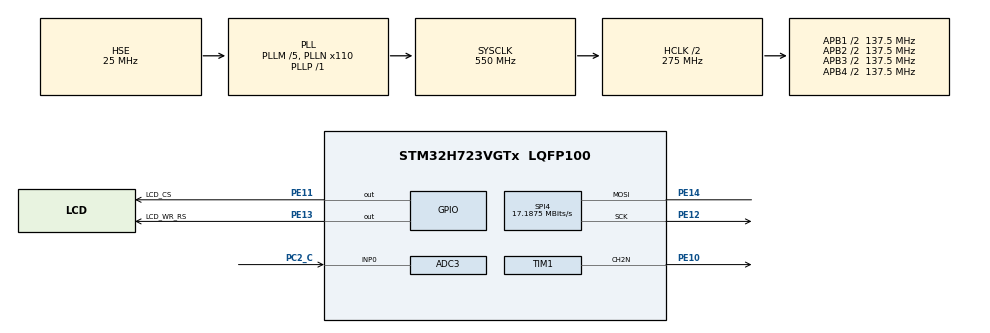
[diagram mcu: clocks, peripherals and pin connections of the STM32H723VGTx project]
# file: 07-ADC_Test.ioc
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ADC3.Channel-0\#ChannelRegularConversion=ADC_CHANNEL_0
ADC3.Channel-1\#ChannelRegularConversion=ADC_CHANNEL_VREFINT
ADC3.Channel-2\#ChannelRegularConversion=ADC_CHANNEL_TEMPSENSOR
ADC3.Channel-3\#ChannelRegularConversion=ADC_CHANNEL_VBAT
ADC3.DiscontinuousConvMode=ENABLE
ADC3.NbrOfConversion=4
ADC3.NbrOfConversionFlag=1
ADC3.OffsetNumber-0\#ChannelRegularConversion=ADC_OFFSET_NONE
ADC3.OffsetNumber-1\#ChannelRegularConversion=ADC_OFFSET_NONE
ADC3.OffsetNumber-2\#ChannelRegularConversion=ADC_OFFSET_NONE
ADC3.OffsetNumber-3\#ChannelRegularConversion=ADC_OFFSET_NONE
ADC3.OffsetSign-0\#ChannelRegularConversion=ADC3_OFFSET_SIGN_NEGATIVE
ADC3.OffsetSign-1\#ChannelRegularConversion=ADC3_OFFSET_SIGN_NEGATIVE
ADC3.OffsetSign-2\#ChannelRegularConversion=ADC3_OFFSET_SIGN_NEGATIVE
ADC3.OffsetSign-3\#ChannelRegularConversion=ADC3_OFFSET_SIGN_NEGATIVE
ADC3.Rank-0\#ChannelRegularConversion=1
ADC3.Rank-1\#ChannelRegularConversion=2
ADC3.Rank-2\#ChannelRegularConversion=3
ADC3.Rank-3\#ChannelRegularConversion=4
ADC3.SamplingTime-0\#ChannelRegularConversion=ADC3_SAMPLETIME_247CYCLES_5
ADC3.SamplingTime-1\#ChannelRegularConversion=ADC3_SAMPLETIME_247CYCLES_5
ADC3.SamplingTime-2\#ChannelRegularConversion=ADC3_SAMPLETIME_247CYCLES_5
ADC3.SamplingTime-3\#ChannelRegularConversion=ADC3_SAMPLETIME_247CYCLES_5
Mcu.Family=STM32H7
Mcu.Name=STM32H723VGTx
Mcu.Package=LQFP100
NVIC.PriorityGroup=NVIC_PRIORITYGROUP_4
PA13(JTMS/SWDIO).Mode=Serial_Wire
PA13(JTMS/SWDIO).Signal=DEBUG_JTMS-SWDIO
PA14(JTCK/SWCLK).Mode=Serial_Wire
PA14(JTCK/SWCLK).Signal=DEBUG_JTCK-SWCLK
PC14-OSC32_IN.Mode=LSE-External-Oscillator
PC14-OSC32_IN.Signal=RCC_OSC32_IN
PC15-OSC32_OUT.Mode=LSE-External-Oscillator
PC15-OSC32_OUT.Signal=RCC_OSC32_OUT
PC2_C.Mode=IN0-Single-Ended
PC2_C.Signal=ADC3_INP0
PE10.Mode=PWM Generation2 CH2N
PE10.Signal=TIM1_CH2N
PE11.GPIO_Label=LCD_CS
PE11.Signal=GPIO_Output
PE12.Mode=Simplex_Bidirectional_Master
PE12.Signal=SPI4_SCK
PE13.GPIO_Label=LCD_WR_RS
PE13.Signal=GPIO_Output
PE14.Mode=Simplex_Bidirectional_Master
PE14.Signal=SPI4_MOSI
PH0-OSC_IN.Mode=HSE-External-Oscillator
PH0-OSC_IN.Signal=RCC_OSC_IN
PH1-OSC_OUT.Mode=HSE-External-Oscillator
PH1-OSC_OUT.Signal=RCC_OSC_OUT
ProjectManager.HeapSize=0x200
ProjectManager.StackSize=0x400
ProjectManager.TargetToolchain=MDK-ARM V5.32
RCC.ADCCLockSelection=RCC_ADCCLKSOURCE_CLKP
RCC.ADCFreq_Value=64000000
RCC.APB1Freq_Value=137500000
RCC.APB2Freq_Value=137500000
RCC.APB3Freq_Value=137500000
RCC.APB4Freq_Value=137500000
RCC.CortexFreq_Value=550000000
RCC.D1PPRE=RCC_APB3_DIV2
RCC.D2PPRE1=RCC_APB1_DIV2
RCC.D2PPRE2=RCC_APB2_DIV2
RCC.D3PPRE=RCC_APB4_DIV2
RCC.DIVM1=5
RCC.DIVN1=110
RCC.DIVP1=1
RCC.HCLKFreq_Value=275000000
RCC.HPRE=RCC_HCLK_DIV2
RCC.PLLSourceVirtual=RCC_PLLSOURCE_HSE
RCC.RTCClockSelection=RCC_RTCCLKSOURCE_LSE
RCC.SYSCLKFreq_VALUE=550000000
RCC.SYSCLKSource=RCC_SYSCLKSOURCE_PLLCLK
RCC.USBFreq_Value=275000000
SPI4.BaudRatePrescaler=SPI_BAUDRATEPRESCALER_8
SPI4.CalculateBaudRate=17.1875 MBits/s
SPI4.DataSize=SPI_DATASIZE_8BIT
SPI4.Direction=SPI_DIRECTION_1LINE
SPI4.Mode=SPI_MODE_MASTER
SPI4.VirtualType=VM_MASTER
TIM1.Channel-PWM\ Generation2\ CH2N=TIM_CHANNEL_2
TIM1.OCNPolarity_2=TIM_OCNPOLARITY_LOW
TIM1.Period=1000-1
TIM1.Prescaler=14-1
VP_ADC3_TempSens_Input.Mode=IN-TempSens
VP_ADC3_Vbat_Input.Mode=IN-Vbat
VP_ADC3_Vref_Input.Mode=IN-Vrefint
VP_RTC_VS_RTC_Activate.Mode=RTC_Enabled
VP_RTC_VS_RTC_Calendar.Mode=RTC_Calendar
board=custom

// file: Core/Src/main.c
/* USER CODE BEGIN Header */

/*---------------------------------------
- WeAct Studio Official Link
- taobao: weactstudio.taobao.com
- aliexpress: weactstudio.aliexpress.com
- github: github.com/WeActStudio
- gitee: gitee.com/WeActStudio
- blog: blog.weactstudio.com
---------------------------------------*/

/**
  ******************************************************************************
  * @file           : main.c
  * @brief          : Main program body
  ******************************************************************************
  * @attention
  *
  * Copyright (c) 2023 STMicroelectronics.
  * All rights reserved.
  *
  * This software is licensed under terms that can be found in the LICENSE file
  * in the root directory of this software component.
  * If no LICENSE file comes with this software, it is provided AS-IS.
  *
  ******************************************************************************
  */
/* USER CODE END Header */
#include "main.h"
#include "adc.h"
#include "rtc.h"
#include "spi.h"
#include "tim.h"
#include "gpio.h"

/* USER CODE BEGIN Includes */
#include "board.h"
#include "lcd.h"
/* USER CODE END Includes */

/* USER CODE BEGIN PV */
__IO uint16_t uhADCxConvertedValue[4];
__IO uint32_t uhADCxInputVoltage[4];
uint32_t adc3_inp0,vbat,tempsensor,vrefint;
/* USER CODE END PV */

void SystemClock_Config(void);
void PeriphCommonClock_Config(void);
static void MPU_Config(void);

/* USER CODE BEGIN 0 */
static void CPU_CACHE_Enable(void)
{
  /* Enable I-Cache */
  SCB_EnableICache();

  /* Enable D-Cache */
  SCB_EnableDCache();
}
/* USER CODE END 0 */

int main(void)
{
  /* USER CODE BEGIN 1 */
	CPU_CACHE_Enable();
  /* USER CODE END 1 */

  /* MPU Configuration--------------------------------------------------------*/
  MPU_Config();

  /* MCU Configuration--------------------------------------------------------*/

  /* Reset of all peripherals, Initializes the Flash interface and the Systick. */
  HAL_Init();

  /* Configure the system clock */
  SystemClock_Config();

/* Configure the peripherals common clocks */
  PeriphCommonClock_Config();

  /* Initialize all configured peripherals */
  MX_GPIO_Init();
  MX_ADC3_Init();
  MX_RTC_Init();
  MX_SPI4_Init();
  MX_TIM1_Init();
  /* USER CODE BEGIN 2 */
	board_button_init();
	board_led_init();

	LCD_Test();

	uint32_t tick,tick_now;
	tick = HAL_GetTick() + 200;
	tick_now = HAL_GetTick();

	uint8_t text[26];

  if (HAL_ADCEx_Calibration_Start(&hadc3, ADC_CALIB_OFFSET, ADC_SINGLE_ENDED) != HAL_OK)
  {
    /* Calibration Error */
    Error_Handler();
  }
  /* USER CODE END 2 */

  /* Infinite loop */
  while (1)
  {

    /* USER CODE BEGIN 3 */
	  tick_now = HAL_GetTick();
    if(board_button_getstate())
    {
      if(tick_now >= tick)
      {
        tick = tick_now + 200;
        board_led_toggle();
      }
    }
    else
    {
      if(tick_now >= tick)
      {
        tick = tick_now + 500;
        board_led_toggle();

				for(uint32_t i = 0;i<(sizeof(uhADCxConvertedValue)/sizeof(uint16_t));i++)
				{
					/*##-1- Start the conversion process #######################################*/
					if (HAL_ADC_Start(&hadc3) != HAL_OK)
					{
						/* Start Conversation Error */
						Error_Handler();
					}
					/*##-2- Wait for the end of conversion #####################################*/
					/*  For simplicity reasons, this example is just waiting till the end of the
							conversion, but application may perform other tasks while conversion
							operation is ongoing. */
					if (HAL_ADC_PollForConversion(&hadc3, 1000) != HAL_OK)
					{
						/* End Of Conversion flag not set on time */
						Error_Handler();
					}
					else
					{
						/* ADC conversion completed */
						/*##-3- Get the converted value of regular channel  ########################*/
						uhADCxConvertedValue[i] = HAL_ADC_GetValue(&hadc3);

						/* Convert the result from 16 bit value to the voltage dimension (mV unit) */
						/* Vref = 3.3 V */
						uhADCxInputVoltage[i] = ((uhADCxConvertedValue[i] * 3300) >> 12);
					}

				}
				HAL_ADC_Stop(&hadc3);

				#define V30  (620)  // mV, V30: 0.62V,datasheet P278
				#define Avg_Slope (2) // mV/C

				adc3_inp0  = uhADCxInputVoltage[0]; // mv
				vrefint    = uhADCxInputVoltage[1]; // type. 1200mV
				tempsensor = ((int32_t)uhADCxInputVoltage[2] - V30)/Avg_Slope + 30; // ??C
				vbat       = uhADCxInputVoltage[3] * 4;

				#ifdef TFT96
				sprintf((char *)&text, " PC2: %4dmV Vref: %4dmV", adc3_inp0, vrefint);
				LCD_ShowString(0, 46, ST7735Ctx.Width, 16, 12, text);
				sprintf((char *)&text, "temp: %3d 'C vbat: %4dmV", tempsensor, vbat);
				LCD_ShowString(0, 62, ST7735Ctx.Width,16,12,text);
				#elif TFT18
				sprintf((char *)&text, " PC2: %4dmV", adc3_inp0);
				LCD_ShowString(0, 46, ST7735Ctx.Width, 16, 12, text);
				sprintf((char *)&text, " Vref: %4dmV", vrefint);
				LCD_ShowString(0, 62, ST7735Ctx.Width, 16, 12, text);
				sprintf((char *)&text, " temp: %3d 'C", tempsensor);
				LCD_ShowString(0, 78, ST7735Ctx.Width, 16, 12, text);
				sprintf((char *)&text, " vbat: %4dmV", vbat);
				LCD_ShowString(0, 94, ST7735Ctx.Width, 16, 12, text);
				#endif
      }
    }
  }
  /* USER CODE END 3 */
}

void SystemClock_Config(void)
{
  RCC_OscInitTypeDef RCC_OscInitStruct = {0};
  RCC_ClkInitTypeDef RCC_ClkInitStruct = {0};

  /** Supply configuration update enable
  */
  HAL_PWREx_ConfigSupply(PWR_LDO_SUPPLY);

  /** Configure the main internal regulator output voltage
  */
  __HAL_PWR_VOLTAGESCALING_CONFIG(PWR_REGULATOR_VOLTAGE_SCALE0);

  while(!__HAL_PWR_GET_FLAG(PWR_FLAG_VOSRDY)) {}

  /** Configure LSE Drive Capability
  */
  HAL_PWR_EnableBkUpAccess();
  __HAL_RCC_LSEDRIVE_CONFIG(RCC_LSEDRIVE_MEDIUMHIGH);

  /** Initializes the RCC Oscillators according to the specified parameters
  * in the RCC_OscInitTypeDef structure.
  */
  RCC_OscInitStruct.OscillatorType = RCC_OSCILLATORTYPE_HSI|RCC_OSCILLATORTYPE_HSE
                              |RCC_OSCILLATORTYPE_LSE;
  RCC_OscInitStruct.HSEState = RCC_HSE_ON;
  RCC_OscInitStruct.LSEState = RCC_LSE_ON;
  RCC_OscInitStruct.HSIState = RCC_HSI_DIV1;
  RCC_OscInitStruct.HSICalibrationValue = 64;
  RCC_OscInitStruct.PLL.PLLState = RCC_PLL_ON;
  RCC_OscInitStruct.PLL.PLLSource = RCC_PLLSOURCE_HSE;
  RCC_OscInitStruct.PLL.PLLM = 5;
  RCC_OscInitStruct.PLL.PLLN = 110;
  RCC_OscInitStruct.PLL.PLLP = 1;
  RCC_OscInitStruct.PLL.PLLQ = 2;
  RCC_OscInitStruct.PLL.PLLR = 2;
  RCC_OscInitStruct.PLL.PLLRGE = RCC_PLL1VCIRANGE_2;
  RCC_OscInitStruct.PLL.PLLVCOSEL = RCC_PLL1VCOWIDE;
  RCC_OscInitStruct.PLL.PLLFRACN = 0;
  if (HAL_RCC_OscConfig(&RCC_OscInitStruct) != HAL_OK)
  {
    Error_Handler();
  }

  /** Initializes the CPU, AHB and APB buses clocks
  */
  RCC_ClkInitStruct.ClockType = RCC_CLOCKTYPE_HCLK|RCC_CLOCKTYPE_SYSCLK
                              |RCC_CLOCKTYPE_PCLK1|RCC_CLOCKTYPE_PCLK2
                              |RCC_CLOCKTYPE_D3PCLK1|RCC_CLOCKTYPE_D1PCLK1;
  RCC_ClkInitStruct.SYSCLKSource = RCC_SYSCLKSOURCE_PLLCLK;
  RCC_ClkInitStruct.SYSCLKDivider = RCC_SYSCLK_DIV1;
  RCC_ClkInitStruct.AHBCLKDivider = RCC_HCLK_DIV2;
  RCC_ClkInitStruct.APB3CLKDivider = RCC_APB3_DIV2;
  RCC_ClkInitStruct.APB1CLKDivider = RCC_APB1_DIV2;
  RCC_ClkInitStruct.APB2CLKDivider = RCC_APB2_DIV2;
  RCC_ClkInitStruct.APB4CLKDivider = RCC_APB4_DIV2;

  if (HAL_RCC_ClockConfig(&RCC_ClkInitStruct, FLASH_LATENCY_3) != HAL_OK)
  {
    Error_Handler();
  }
}

void PeriphCommonClock_Config(void)
{
  RCC_PeriphCLKInitTypeDef PeriphClkInitStruct = {0};

  /** Initializes the peripherals clock
  */
  PeriphClkInitStruct.PeriphClockSelection = RCC_PERIPHCLK_CKPER;
  PeriphClkInitStruct.CkperClockSelection = RCC_CLKPSOURCE_HSI;
  if (HAL_RCCEx_PeriphCLKConfig(&PeriphClkInitStruct) != HAL_OK)
  {
    Error_Handler();
  }
}

/* MPU Configuration */

void MPU_Config(void)
{
  MPU_Region_InitTypeDef MPU_InitStruct = {0};

  /* Disables the MPU */
  HAL_MPU_Disable();

  /** Initializes and configures the Region and the memory to be protected
  */
  MPU_InitStruct.Enable = MPU_REGION_ENABLE;
  MPU_InitStruct.Number = MPU_REGION_NUMBER0;
  MPU_InitStruct.BaseAddress = 0x0;
  MPU_InitStruct.Size = MPU_REGION_SIZE_4GB;
  MPU_InitStruct.SubRegionDisable = 0x87;
  MPU_InitStruct.TypeExtField = MPU_TEX_LEVEL0;
  MPU_InitStruct.AccessPermission = MPU_REGION_NO_ACCESS;
  MPU_InitStruct.DisableExec = MPU_INSTRUCTION_ACCESS_DISABLE;
  MPU_InitStruct.IsShareable = MPU_ACCESS_SHAREABLE;
  MPU_InitStruct.IsCacheable = MPU_ACCESS_NOT_CACHEABLE;
  MPU_InitStruct.IsBufferable = MPU_ACCESS_NOT_BUFFERABLE;

  HAL_MPU_ConfigRegion(&MPU_InitStruct);
  /* Enables the MPU */
  HAL_MPU_Enable(MPU_PRIVILEGED_DEFAULT);

}

void Error_Handler(void)
{
  __disable_irq();
  while (1)
  {
  }
}
